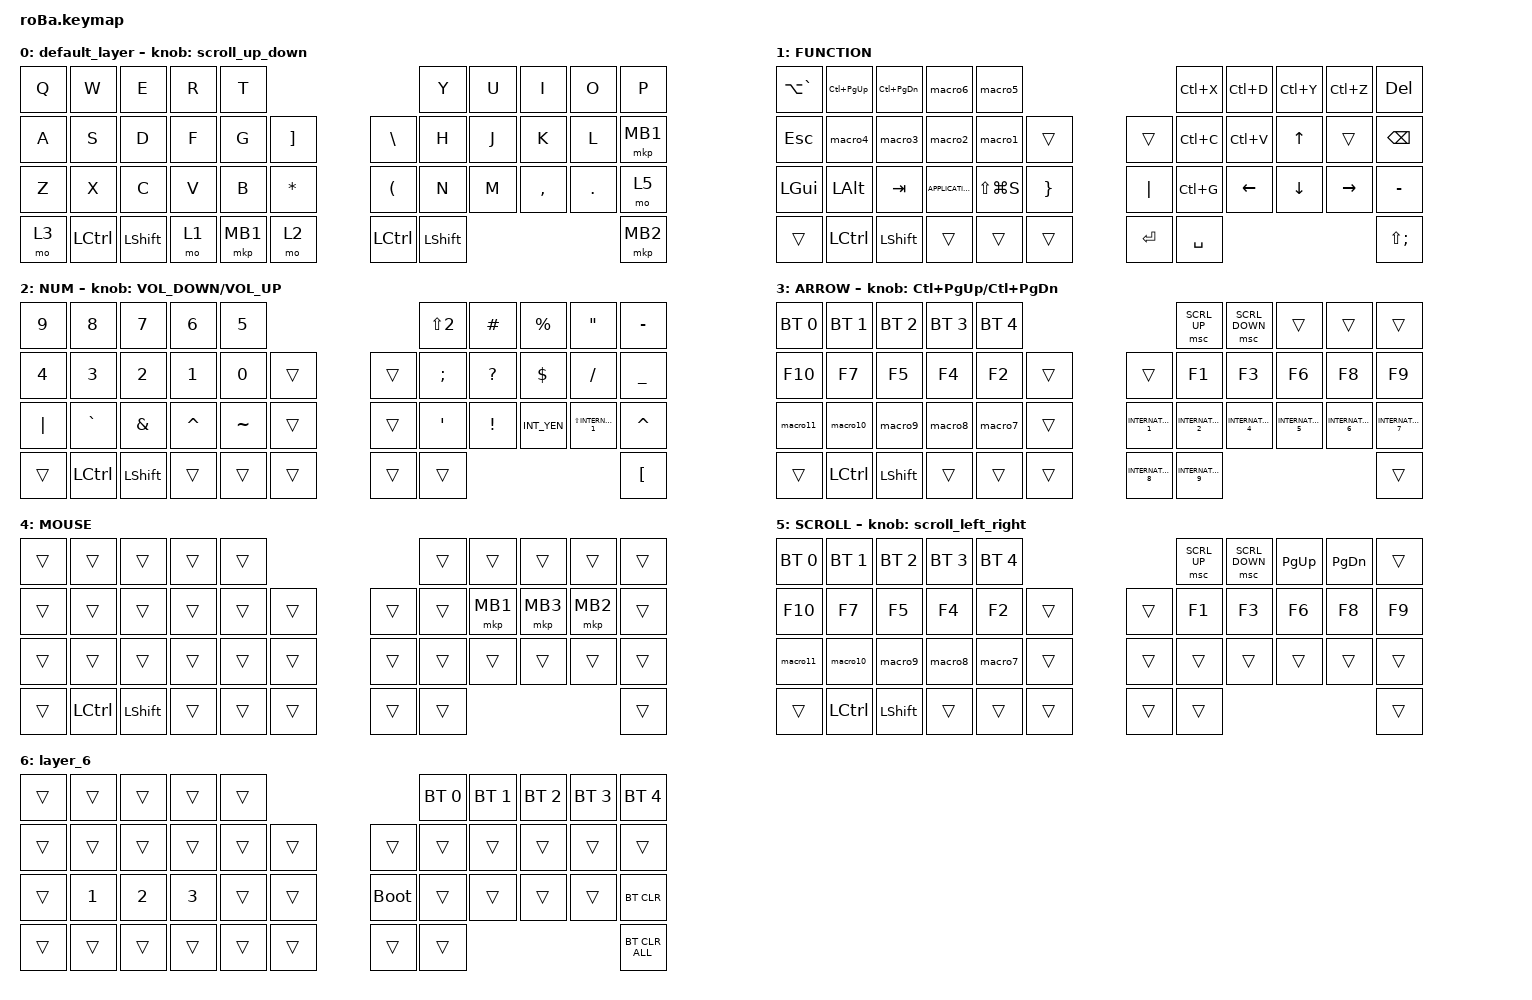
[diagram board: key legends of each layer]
#include <behaviors.dtsi>
#include <dt-bindings/zmk/bt.h>
#include <dt-bindings/zmk/keys.h>
#include <dt-bindings/zmk/pointing.h>

#define ZMK_POINTING_DEFAULT_SCRL_VAL 70
#define MOUSE 4
#define SCROLL 5
#define NUM 6

&mt {
    flavor = "balanced";
    quick-tap-ms = <0>;
};

/ {
    combos {
        compatible = "zmk,combos";

        tab {
            bindings = <&kp TAB>;
            key-positions = <12 11>;
        };

        shift_tab {
            bindings = <&kp LS(TAB)>;
            key-positions = <1 2>;
        };

        gui {
            bindings = <&kp LEFT_GUI>;
            key-positions = <0 1>;
        };
    };

    macros {
        to_layer_0: to_layer_0 {
            compatible = "zmk,behavior-macro-one-param";
            #binding-cells = <1>;
            bindings = <&to 1 &macro_param_1to1 &kp MACRO_PLACEHOLDER>;
            label = "TO_LAYER_0";
        };

        macro1: macro1 {
            compatible = "zmk,behavior-macro";
            #binding-cells = <0>;
            bindings = <&macro_tap>, <&kp LEFT_ALT &kp H &kp G &kp A>;
        };

        macro2: macro2 {
            compatible = "zmk,behavior-macro";
            #binding-cells = <0>;
            bindings = <&macro_tap>, <&kp LEFT_ALT &kp H &kp S &kp H>;
        };

        macro3: macro3 {
            compatible = "zmk,behavior-macro";
            #binding-cells = <0>;
            bindings = <&macro_tap>, <&kp LEFT_ALT &kp H &kp S &kp F>;
        };

        macro4: macro4 {
            compatible = "zmk,behavior-macro";
            #binding-cells = <0>;
            bindings = <&macro_tap>, <&kp LEFT_ALT &kp H &kp S &kp O>;
        };

        macro5: macro5 {
            compatible = "zmk,behavior-macro";
            #binding-cells = <0>;
            bindings = <&macro_tap>, <&kp LEFT_ALT &kp H &kp F &kp C>;
        };

        macro6: macro6 {
            compatible = "zmk,behavior-macro";
            #binding-cells = <0>;
            bindings = <&macro_tap>, <&kp LEFT_ALT &kp H>;
        };

        macro7: macro7 {
            compatible = "zmk,behavior-macro";
            #binding-cells = <0>;
            bindings = <&kp T &kp O &kp S &kp H &kp I &kp K &kp I &kp DOT &kp H &kp O &kp R &kp I &kp T &kp A &kp LBKT &kp J &kp P &kp DOT &kp E &kp Y &kp DOT &kp C &kp O &kp M>;
            label = "MACRO7";
        };

        macro8: macro8 {
            compatible = "zmk,behavior-macro";
            #binding-cells = <0>;
            bindings = <&kp N1 &kp N9 &kp N9 &kp N0 &kp N0 &kp N3 &kp N2 &kp N2>;
            label = "MACRO8";
        };

        macro9: macro9 {
            compatible = "zmk,behavior-macro";
            #binding-cells = <0>;
            bindings = <&kp LS(T) &kp H &kp N5 &kp N5 &kp N2 &kp N3>;
            label = "MACRO9";
        };

        macro10: macro10 {
            compatible = "zmk,behavior-macro";
            #binding-cells = <0>;
            bindings = <&kp LS(T) &kp H &kp N0 &kp N2 &kp N0 &kp N3 &kp N2 &kp N2 &kp N0 &kp N1>;
            label = "MACRO10";
        };

        macro11: macro11 {
            compatible = "zmk,behavior-macro";
            #binding-cells = <0>;
            bindings = <&kp LS(T) &kp H &kp N0 &kp N2 &kp N0 &kp N3 &kp N2 &kp N2>;
            label = "MACRO11";
        };
    };

    behaviors {
        lt_to_layer_0: lt_to_layer_0 {
            compatible = "zmk,behavior-hold-tap";
            label = "LAYER_TAP_TO_0";
            bindings = <&mo>, <&to_layer_0>;

            #binding-cells = <2>;
            tapping-term-ms = <200>;
        };

        scroll_up_down: behavior_sensor_rotate_mouse_wheel_up_down {
            compatible = "zmk,behavior-sensor-rotate";
            #sensor-binding-cells = <0>;
            bindings = <&msc SCRL_UP>, <&msc SCRL_DOWN>;

            tap-ms = <20>;
        };

        scroll_left_right: behavior_sensor_rotate_mouse_wheel_left_right {
            compatible = "zmk,behavior-sensor-rotate";
            #sensor-binding-cells = <0>;
            bindings = <&msc SCRL_LEFT>, <&msc SCRL_RIGHT>;

            tap-ms = <20>;
        };
    };

    keymap {
        compatible = "zmk,keymap";

        default_layer {
            bindings = <
&kp Q  &kp W             &kp E           &kp R  &kp T                                                  &kp Y           &kp U  &kp I      &kp O    &kp P
&kp A  &kp S             &kp D           &kp F  &kp G     &kp RIGHT_BRACKET      &kp BACKSLASH         &kp H           &kp J  &kp K      &kp L    &mkp MB1
&kp Z  &kp X             &kp C           &kp V  &kp B     &kp ASTRK              &kp LEFT_PARENTHESIS  &kp N           &kp M  &kp COMMA  &kp DOT  &mo 5
&mo 3  &kp LEFT_CONTROL  &kp LEFT_SHIFT  &mo 1  &mkp MB1  &mo 2                  &kp LEFT_CONTROL      &kp LEFT_SHIFT                             &mkp MB2
            >;

            sensor-bindings = <&scroll_up_down>;
        };

        FUNCTION {
            bindings = <
&kp LA(GRAVE)  &kp LC(PAGE_UP)   &kp LC(PAGE_DOWN)  &macro6            &macro5                                        &kp LC(X)  &kp LC(D)       &kp LC(Y)       &kp LC(Z)  &kp DEL
&kp ESC        &macro4           &macro3            &macro2            &macro1        &trans               &trans     &kp LC(C)  &kp LC(V)       &kp UP_ARROW    &trans     &kp BACKSPACE
&kp LEFT_GUI   &kp LEFT_ALT      &kp TAB            &kp K_APPLICATION  &kp LS(LG(S))  &kp RIGHT_BRACE      &kp PIPE   &kp LC(G)  &kp LEFT_ARROW  &kp DOWN_ARROW  &kp RIGHT  &kp MINUS
&trans         &kp LEFT_CONTROL  &kp LEFT_SHIFT     &trans             &trans         &trans               &kp ENTER  &kp SPACE                                             &kp LS(SEMICOLON)
            >;
        };

        NUM {
            bindings = <
&kp NUMBER_9  &kp NUMBER_8      &kp NUMBER_7    &kp NUMBER_6  &kp NUMBER_5                      &kp LS(NUMBER_2)  &kp HASH         &kp PERCENT  &kp DOUBLE_QUOTES        &kp MINUS
&kp NUMBER_4  &kp NUMBER_3      &kp NUMBER_2    &kp NUMBER_1  &kp NUMBER_0  &trans      &trans  &kp SEMICOLON     &kp QUESTION     &kp DOLLAR   &kp SLASH                &kp UNDER
&kp PIPE      &kp GRAVE         &kp AMPERSAND   &kp CARET     &kp TILDE     &trans      &trans  &kp APOS          &kp EXCLAMATION  &kp INT_YEN  &kp LS(INTERNATIONAL_1)  &kp CARET
&trans        &kp LEFT_CONTROL  &kp LEFT_SHIFT  &trans        &trans        &trans      &trans  &trans                                                                   &kp LEFT_BRACKET
            >;

            sensor-bindings = <&inc_dec_kp C_VOLUME_DOWN C_VOLUME_UP>;
        };

        ARROW {
            bindings = <
&bt BT_SEL 0  &bt BT_SEL 1      &bt BT_SEL 2    &bt BT_SEL 3  &bt BT_SEL 4                                   &msc SCRL_UP         &msc SCRL_DOWN       &trans               &trans               &trans
&kp F10       &kp F7            &kp F5          &kp F4        &kp F2        &trans      &trans               &kp F1               &kp F3               &kp F6               &kp F8               &kp F9
&macro11      &macro10          &macro9         &macro8       &macro7       &trans      &kp INTERNATIONAL_1  &kp INTERNATIONAL_2  &kp INTERNATIONAL_4  &kp INTERNATIONAL_5  &kp INTERNATIONAL_6  &kp INTERNATIONAL_7
&trans        &kp LEFT_CONTROL  &kp LEFT_SHIFT  &trans        &trans        &trans      &kp INTERNATIONAL_8  &kp INTERNATIONAL_9                                                                 &trans
            >;

            sensor-bindings = <&inc_dec_kp LC(PAGE_UP) LC(PAGE_DOWN)>;
        };

        MOUSE {
            bindings = <
&trans  &trans            &trans          &trans  &trans                      &trans  &trans    &trans    &trans    &trans
&trans  &trans            &trans          &trans  &trans  &trans      &trans  &trans  &mkp MB1  &mkp MB3  &mkp MB2  &trans
&trans  &trans            &trans          &trans  &trans  &trans      &trans  &trans  &trans    &trans    &trans    &trans
&trans  &kp LEFT_CONTROL  &kp LEFT_SHIFT  &trans  &trans  &trans      &trans  &trans                                &trans
            >;
        };

        SCROLL {
            bindings = <
&bt BT_SEL 0  &bt BT_SEL 1      &bt BT_SEL 2    &bt BT_SEL 3  &bt BT_SEL 4                      &msc SCRL_UP  &msc SCRL_DOWN  &kp PAGE_UP  &kp PAGE_DOWN  &trans
&kp F10       &kp F7            &kp F5          &kp F4        &kp F2        &trans      &trans  &kp F1        &kp F3          &kp F6       &kp F8         &kp F9
&macro11      &macro10          &macro9         &macro8       &macro7       &trans      &trans  &trans        &trans          &trans       &trans         &trans
&trans        &kp LEFT_CONTROL  &kp LEFT_SHIFT  &trans        &trans        &trans      &trans  &trans                                                    &trans
            >;

            sensor-bindings = <&scroll_left_right>;
        };

        layer_6 {
            bindings = <
&trans  &trans        &trans        &trans        &trans                           &bt BT_SEL 0  &bt BT_SEL 1  &bt BT_SEL 2  &bt BT_SEL 3  &bt BT_SEL 4
&trans  &trans        &trans        &trans        &trans  &trans      &trans       &trans        &trans        &trans        &trans        &trans
&trans  &kp NUMBER_1  &kp NUMBER_2  &kp NUMBER_3  &trans  &trans      &bootloader  &trans        &trans        &trans        &trans        &bt BT_CLR
&trans  &trans        &trans        &trans        &trans  &trans      &trans       &trans                                                  &bt BT_CLR_ALL
            >;
        };
    };
};
